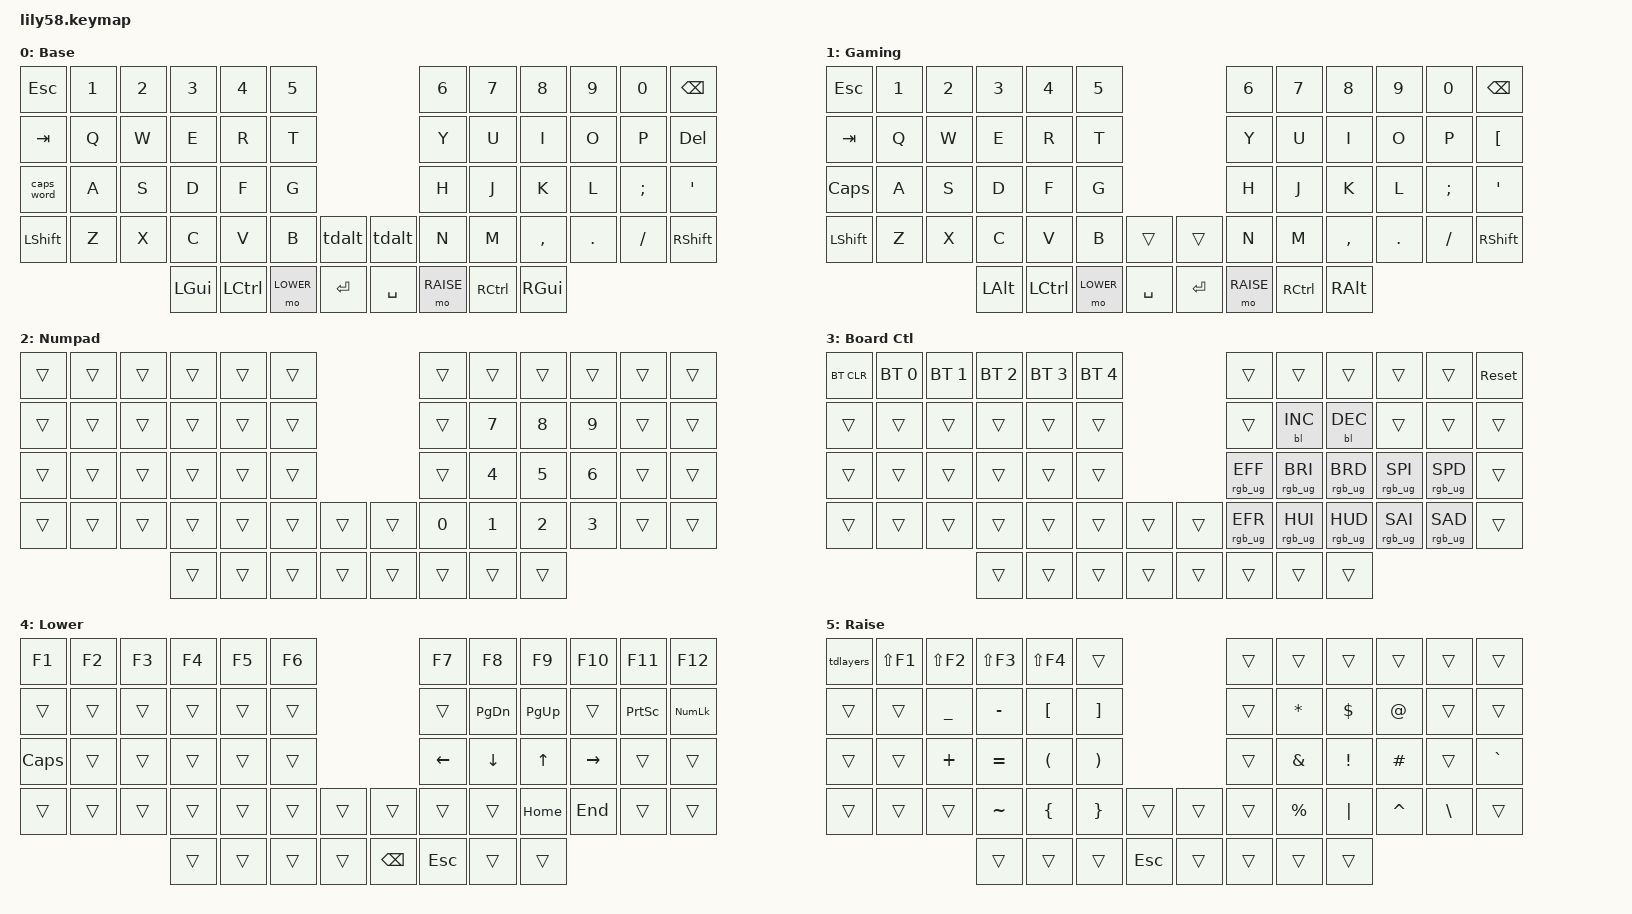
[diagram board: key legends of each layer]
/*
 * Copyright (c) 2020 The ZMK Contributors
 *
 * SPDX-License-Identifier: MIT
 */

#include <behaviors.dtsi>
#include <dt-bindings/zmk/backlight.h>
#include <dt-bindings/zmk/bt.h>
#include <dt-bindings/zmk/ext_power.h>
#include <dt-bindings/zmk/keys.h>
#include <dt-bindings/zmk/rgb.h>
#include <dt-bindings/led/led.h>

#define BASE             0
#define GAMING           1
#define NUMPAD           2
#define KEYBOARD_CONTROL 3
#define LOWER            4
#define RAISE            5

// &led_strip {
//     chain-length = <35>;
// };

&mt {
    tapping-term-ms = <400>; // default 200
};

&caps_word {
    continue-list = <UNDERSCORE MINUS BACKSPACE>;
};

/ {
    behaviors {
        mo_to: behavior_mo_tog {
            compatible = "zmk,behavior-hold-tap";
            #binding-cells = <2>;
            flavor = "hold-preferred";
            tapping-term-ms = <400>;
            bindings = <&mo>, <&to>;
        };

        // termkp: termkp {
        //     compatible = "zmk,behavior-term-conditional-keypress";
        //     #binding-cells = <2>;
        //     /* Optional: override; if omitted defaults to 200ms (or your Kconfig default) */
        //     tapping-term-ms = <400>;
        //     /* Define which previous keys count as triggers */
        //     trigger-keycodes = <LEFT RIGHT UP DOWN>;
        // };

        hrl: home_row_mod_left {
            compatible = "zmk,behavior-hold-tap";
                    #binding-cells = <2>;
            flavor = "balanced";
            require-prior-idle-ms = <150>;
            tapping-term-ms = <280>;
            quick-tap-ms = <175>;
            bindings = <&kp>, <&kp>;
            hold-trigger-key-positions = < 
                // ALL keys on right half (positions 30–59)
                30 31 32 33 34 35 36 37 38 39
                40 41 42 43 44 45 46 47 48 49
                50 51 52 53 54 55 56 57 58 59
            >;
            hold-trigger-on-release;
        };

        hrr: home_row_mod_right {
            compatible = "zmk,behavior-hold-tap";
            #binding-cells = <2>;
            flavor = "balanced";
            require-prior-idle-ms = <150>;
            tapping-term-ms = <280>;
            quick-tap-ms = <175>;
            bindings = <&kp>, <&kp>;
            hold-trigger-key-positions = <
                // ALL keys on left half (positions 0–29)
                0 1 2 3 4 5 6 7 8 9
                10 11 12 13 14 15 16 17 18 19
                20 21 22 23 24 25 26 27 28 29
            >;
            hold-trigger-on-release;
        };

        tdgui: tap_dance_gui {
            compatible = "zmk,behavior-tap-dance";
            #binding-cells = <0>;
            tapping-term-ms = <200>;
            bindings = <&kp LGUI>, <&kp LG(LSHFT)>;
        };

        tdalt: tap_dance_alt {
            compatible = "zmk,behavior-tap-dance";
            #binding-cells = <0>;
            tapping-term-ms = <200>;
            bindings = <&kp LALT>, <&kp LA(LCTL)>;
        };

        tdlayers: tap_dance_layers {
            compatible = "zmk,behavior-tap-dance";
            #binding-cells = <0>;
            tapping-term-ms = <400>;
            bindings = <&to BASE>, <&to GAMING>, <&to NUMPAD>, <&to KEYBOARD_CONTROL>;
        };

    };

    keymap {
        compatible = "zmk,keymap";

        default_layer {
            display-name = "Base";

            // Base keyboard layer
            // ---------------------------------------------------------------------------------------------------------------
            // |  ESC     |  1  |  2  |  3   |  4   |   5   |                            |   6   |   7   |   8   |  9   |   0   |  BACK |
            // |  TAB     |  Q  |  W  |  E   |  R   |   T   |                            |   Y   |   U   |   I   |  O   |   P   |   DEL |
            // | CAPSWORD |  A  |  S  |  D   |  F   |   G   |                            |   H   |   J   |   K   |  L   |   ;   |   '   |
            // | SHIFT    |  Z  |  X  |  C   |  V   |   B   |  GUI  |  |  GUI    |   N   |   M   |   ,   |  .   |   /   | SHIFT |
            //                        | GUI  | CTRL | LOWER | ENTER |  | SPACE   | RAISE |  CTRL |  GUI  |
            bindings = <
&kp ESC     &kp N1  &kp N2  &kp N3     &kp N4     &kp N5                               &kp N6      &kp N7     &kp N8      &kp N9    &kp N0    &kp BACKSPACE
&kp TAB     &kp Q   &kp W   &kp E      &kp R      &kp T                                &kp Y       &kp U      &kp I       &kp O     &kp P     &kp DEL
&caps_word  &kp A   &kp S   &kp D      &kp F      &kp G                                &kp H       &kp J      &kp K       &kp L     &kp SEMI  &kp SQT 
&kp LSHFT   &kp Z   &kp X   &kp C      &kp V      &kp B       &tdalt       &tdalt      &kp N       &kp M      &kp COMMA   &kp DOT   &kp FSLH  &kp RSHFT
                            &kp LGUI   &kp LCTRL  &mo LOWER   &kp ENTER    &kp SPACE   &mo RAISE   &kp RCTRL  &kp RGUI
            >;
        };

        gaming_layer {
            display-name = "Gaming";

            // Gaming keyboard layer
            // ----------------------------------------------------------------------------------------------------------------
            // |   ESC  |  1  |  2  |  3   |   4   |   5   |                     |   6   |  7    |  8    |  9   |   0   |  BKSP |
            // |   TAB  |  Q  |  W  |  E   |   R   |   T   |                     |   Y   |  U    |  I    |  O   |   P   |   [   |
            // |  CTRL  |  A  |  S  |  D   |   F   |   G   |                     |   H   |  J    |  K    |  L   |   ;   |   '   |
            // | SHIFT  |  Z  |  X  |  C   |   V   |   B   |        |  |         |   N   |  M    |  ,    |  .   |   /   | SHIFT |
            //                      | CAPS |  ALT  | SPACE |  LOWER |  | ENTER   | RAISE | CTRL  | GUI   |

            bindings = <
&kp ESC    &kp N1  &kp N2    &kp N3     &kp N4     &kp N5                           &kp N6     &kp N7     &kp N8     &kp N9   &kp N0    &kp BACKSPACE
&kp TAB    &kp Q   &kp W     &kp E      &kp R      &kp T                            &kp Y      &kp U      &kp I      &kp O    &kp P     &kp LEFT_BRACKET
&kp CAPS   &kp A   &kp S     &kp D      &kp F      &kp G                            &kp H      &kp J      &kp K      &kp L    &kp SEMI  &kp SQT
&kp LSHFT  &kp Z   &kp X     &kp C      &kp V      &kp B      &trans       &trans   &kp N      &kp M      &kp COMMA  &kp DOT  &kp FSLH  &kp RSHFT
                             &kp LALT   &kp LCTL   &mo LOWER  &kp SPACE    &kp RET  &mo RAISE  &kp RCTRL  &kp RALT
            >;
        };


        numpad_layer {
            display-name = "Numpad";

            // Numpad keyboard layer
            // -----------------------------------------------------------------------------------------------------------------
            // |   |   |   |   |   |   |         |     |     |     |     |   |   |
            // |   |   |   |   |   |   |         |     |  7  |  8  |  9  |   |   |
            // |   |   |   |   |   |   |         |     |  4  |  5  |  6  |   |   |
            // |   |   |   |   |   |   |   |  |  |  0  |  1  |  2  |  3  |   |   |
            //             |   |   |   |   |  |  |     |     |     |

            bindings = <
&trans    &trans  &trans  &trans  &trans  &trans                    &trans   &trans   &trans   &trans   &trans   &trans
&trans    &trans  &trans  &trans  &trans  &trans                    &trans   &kp N7   &kp N8   &kp N9   &trans   &trans
&trans    &trans  &trans  &trans  &trans  &trans                    &trans   &kp N4   &kp N5   &kp N6   &trans   &trans
&trans    &trans  &trans  &trans  &trans  &trans  &trans    &trans  &kp N0   &kp N1   &kp N2   &kp N3   &trans   &trans
                          &trans  &trans  &trans  &trans    &trans  &trans   &trans   &trans
            >;
        };


        keyboard_control_layer {
            display-name = "Board Ctl";

            // Controls the keyboard functiions like bluetooth, rgb, ect
            // ---------------------------------------------------------------------------------------------------------------------------------------------------------
            // | BTCLR |  BT1  |  BT2    |     BT3    |   BT4   |  BT5 |                  |          |             |              |             |              | SYS_RESET |
            // |       |       | BL_OFF  |   BL_ON    | BL_TOG  |      |                  |          | BL +        | BL -         |             |              |           |
            // |       |       | RGB_OFF |   RGB_ON   | RGB_TOG |      |                  | RGB_NEXT | RGB_BRIGHT+ | RGB_BRIGHT - | RGB_SPEED + |  RGB_SPEED - |           |
            // |       |       | EP_OFF  |   EP_ON    | EP_TOG  |      |     |  | TO BASE | RGB_PREV | RGB_HUE +   | RGB_HUE -    | RGB_SAT +   | RGB_SAT -    |           |
            //                           |            |         |      |     |  |         |          |             |              |


            bindings = <
&bt BT_CLR  &bt BT_SEL 0  &bt BT_SEL 1   &bt BT_SEL 2   &bt BT_SEL 3   &bt BT_SEL 4                      &trans           &trans           &trans           &trans           &trans       &sys_reset
&trans      &trans        &trans         &trans         &trans         &trans                            &trans           &bl BL_INC       &bl BL_DEC       &trans           &trans           &trans
&trans      &trans        &trans         &trans         &trans         &trans                            &rgb_ug RGB_EFF  &rgb_ug RGB_BRI  &rgb_ug RGB_BRD  &rgb_ug RGB_SPI  &rgb_ug RGB_SPD  &trans
&trans      &trans        &trans         &trans         &trans         &trans        &trans    &trans    &rgb_ug RGB_EFR  &rgb_ug RGB_HUI  &rgb_ug RGB_HUD  &rgb_ug RGB_SAI  &rgb_ug RGB_SAD  &trans
                                         &trans         &trans         &trans        &trans    &trans    &trans           &trans           &trans
            >;
        };

        lower_layer {
            display-name = "Lower";

            // -----------------------------------------------------------------------------------------------------------------
            // |  F1   |   F2 | F3   |  F4  |  F5  |  F6  |                   |  F7  |  F8   |  F9   |  F10 |  F11  |   F12   |
            // |       |      |      |      |      |      |                   |      |  P_UP | P_DOWN|      | PRINT | NUMLOCk |
            // | CAPS  |      |      |      |      |      |                   |  <-  |   v   |   ^   |  ->  |       |         |
            // |       |      |      |      |      |      |        |  |       | DEL  |       |  HOME |  END |       |         |
            //                              |      |      |        |  |  BACK | ESC  |       |       |      |

            bindings = <
&kp F1    &kp F2     &kp F3   &kp F4   &kp F5   &kp F6                           &kp F7      &kp F8         &kp F9       &kp F10    &kp F11          &kp F12
&trans    &trans     &trans   &trans   &trans   &trans                           &trans      &kp PAGE_DOWN  &kp PAGE_UP  &trans     &kp PRINTSCREEN  &kp KP_NUMLOCK
&kp CAPS  &trans     &trans   &trans   &trans   &trans                           &kp LEFT    &kp DOWN       &kp UP       &kp RIGHT  &trans           &trans
&trans    &trans     &trans   &trans   &trans   &trans  &trans    &trans         &trans      &trans         &kp HOME     &kp END    &trans           &trans
                              &trans   &trans   &trans  &trans    &kp BACKSPACE  &kp ESC     &trans         &trans

            >;
        };

        raise_layer {
            display-name = "Raise";

            // ------------------------------------------------------------------------------------------------------------
            // |  LAYERS   | S_F1 | S_F2 | S_F3 | S_F4 |      |                   |      |       |       |      |       |       |
            // |           |      |  _   |  -   |  [   |  ]   |                   |      |   *   |   $   |  @   |       |       |
            // | caps_word |      |  +   |  =   |  (   |  )   |                   |      |   &   |   !   |  #   |       |       |
            // |           |      |  `   |  ~   |  {   |  }   |        |  |       |      |   %   |   |   |  ^   |   \   |       |
            //                           |      |      |      |  ESC   |  |       |      |       |       |

            bindings = <
&tdlayers   &kp LS(F1) &kp LS(F2)      &kp LS(F3)   &kp LS(F4)            &trans                                       &trans   &trans         &trans       &trans          &trans         &trans
&trans      &trans     &kp UNDERSCORE  &kp MINUS    &kp LEFT_BRACKET      &kp RIGHT_BRACKET                            &trans   &kp ASTERISK   &kp DOLLAR   &kp AT_SIGN     &trans         &trans
&trans      &trans     &kp PLUS        &kp EQUAL    &kp LEFT_PARENTHESIS  &kp RIGHT_PARENTHESIS                        &trans   &kp AMPERSAND  &kp EXCL     &kp HASH        &trans         &kp GRAVE
&trans      &trans     &trans          &kp TILDE    &kp LEFT_BRACE        &kp RIGHT_BRACE        &trans       &trans   &trans   &kp PERCENT    &kp PIPE     &kp CARET       &kp BACKSLASH  &trans
                                       &trans       &trans                &trans                 &kp ESC      &trans   &trans   &trans         &trans
            >;
        };

//         blank_layer {
//             display-name = "Blank";
//
//             // -----------------------------------------------------------------------------------------------------------------
//             // |   |   |   |   |   |   |                   |    |    |    |    |    |   |
//             // |   |   |   |   |   |   |                   |    |    |    |    |    |   |
//             // |   |   |   |   |   |   |                   |    |    |    |    |    |   |
//             // |   |   |   |   |   |   |   |   |       |   |    |    |    |    |    |
//             //                         |   |   |       |   |    |    |    |    |    |
//
//             bindings = <
// &trans    &trans  &trans  &trans  &trans  &trans                    &trans   &trans   &trans   &trans   &trans   &trans
// &trans    &trans  &trans  &trans  &trans  &trans                    &trans   &trans   &trans   &trans   &trans   &trans
// &trans    &trans  &trans  &trans  &trans  &trans                    &trans   &trans   &trans   &trans   &trans   &trans
// &trans    &trans  &trans  &trans  &trans  &trans  &trans    &trans  &trans   &trans   &trans   &trans   &trans   &trans
//                           &trans  &trans  &trans  &trans    &trans  &trans   &trans   &trans
//             >;
//         };
    };
};
